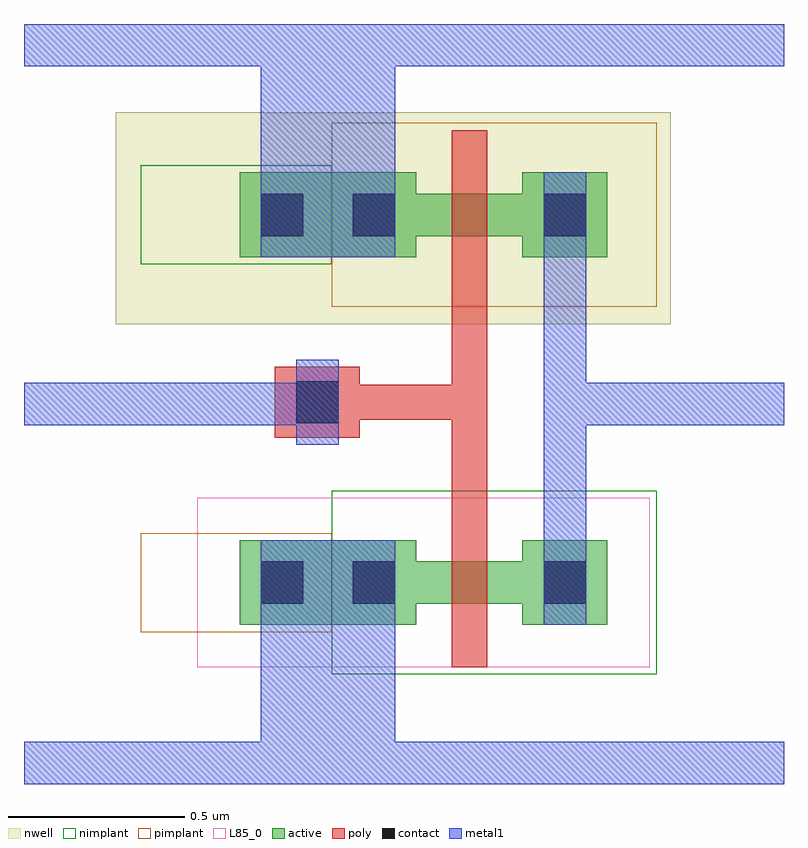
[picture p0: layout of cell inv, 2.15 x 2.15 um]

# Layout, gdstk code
import gdstk
lib = gdstk.Library(unit=1e-6, precision=5e-10)
def R(c, l, rs):  # rectangles x0, y0, x1, y1
    for r in rs: c.add(gdstk.rectangle(r[:2], r[2:], *l))
def A(c, l, x, y, w, h, nx, ny, dx, dy):  # array of equal rectangles
    R(c, l, [(x+i*dx, y+j*dy, x+i*dx+w, y+j*dy+h) for i in range(nx) for j in range(ny)])
active = (1, 0)
nwell = (2, 0)
poly = (3, 0)
nimplant = (4, 0)
pimplant = (5, 0)
contact = (6, 0)
metal1 = (7, 0)
L85_0 = (85, 0)

nmos1v_0 = lib.new_cell('nmos1v_0')
A(nmos1v_0, active, -0.1, 0, 0.1, 0.12, 3, 1, 0.1, 0)
R(nmos1v_0, active, [(-0.6,-0.06,-0.1,0.18), (0.2,-0.06,0.44,0.18)])
R(nmos1v_0, poly, [(0,-0.18,0.1,-0.16), (0,-0.16,0.1,0), (0,0,0.1,0.12), (0,0.12,0.1,0.28), (0,0.28,0.1,0.3)])
R(nmos1v_0, nimplant, [(-0.34,-0.2,0.58,0.32), (-0.18,-0.18,0.28,0.3)])
R(nmos1v_0, pimplant, [(-0.88,-0.08,-0.34,0.2)])
R(nmos1v_0, contact, [(-0.54,0,-0.42,0.12), (-0.28,0,-0.16,0.12), (0.26,0,0.38,0.12)])
R(nmos1v_0, metal1, [(-0.54,-0.06,-0.16,0.18), (-0.54,-0.06,-0.16,0.18), (0.26,-0.06,0.38,0.18)])
R(nmos1v_0, L85_0, [(-0.72,-0.18,0.56,0.3)])

pmos1v_1 = lib.new_cell('pmos1v_1')
A(pmos1v_1, active, -0.1, 0, 0.1, 0.12, 3, 1, 0.1, 0)
R(pmos1v_1, active, [(-0.6,-0.06,-0.1,0.18), (0.2,-0.06,0.44,0.18)])
R(pmos1v_1, nwell, [(-0.72,-0.18,0.56,0.3)])
R(pmos1v_1, poly, [(0,-0.18,0.1,-0.16), (0,-0.16,0.1,0), (0,0,0.1,0.12), (0,0.12,0.1,0.28), (0,0.28,0.1,0.3)])
R(pmos1v_1, nimplant, [(-0.88,-0.08,-0.34,0.2)])
R(pmos1v_1, pimplant, [(-0.34,-0.2,0.58,0.32), (-0.18,-0.18,0.28,0.3)])
R(pmos1v_1, contact, [(-0.54,0,-0.42,0.12), (-0.28,0,-0.16,0.12), (0.26,0,0.38,0.12)])
R(pmos1v_1, metal1, [(-0.54,-0.06,-0.16,0.18), (-0.54,-0.06,-0.16,0.18), (0.26,-0.06,0.38,0.18)])

m1_pov_0 = lib.new_cell('M1_POv_0')
R(m1_pov_0, poly, [(-0.12,-0.1,0.12,0.1)])
R(m1_pov_0, contact, [(-0.06,-0.06,0.06,0.06)])
R(m1_pov_0, metal1, [(-0.06,-0.12,0.06,0.12)])

inv = lib.new_cell('inv')
R(inv, nwell, [(0.26,1.3,1.83,1.9)])
R(inv, metal1, [(0,0,2.15,0.12), (0,1.015,0.12,1.135), (2.03,1.015,2.15,1.135), (0,2.03,2.15,2.15)])
inv.add(gdstk.FlexPath([(0.83,1.08),(1.26,1.08)], 0.1, ends=(0, 0.05), simple_path=True, layer=3, datatype=0))  # poly
inv.add(gdstk.FlexPath([(1.26,1.37),(1.26,1.08)], 0.1, ends=(0, 0.05), simple_path=True, layer=3, datatype=0))  # poly
inv.add(gdstk.FlexPath([(1.26,1.08),(1.26,0.81)], 0.1, ends=(0.05, 0), simple_path=True, layer=3, datatype=0))  # poly
inv.add(gdstk.FlexPath([(0.86,0.45),(0.86,0.12)], 0.38, ends="flush", simple_path=True, layer=7, datatype=0))  # metal1
inv.add(gdstk.FlexPath([(0.86,1.73),(0.86,2.03)], 0.38, ends="flush", simple_path=True, layer=7, datatype=0))  # metal1
inv.add(gdstk.FlexPath([(2.03,1.075),(1.53,1.075)], 0.12, ends="extended", simple_path=True, layer=7, datatype=0))  # metal1
inv.add(gdstk.FlexPath([(1.53,1.49),(1.53,1.075)], 0.12, ends=(0, 0.06), simple_path=True, layer=7, datatype=0))  # metal1
inv.add(gdstk.FlexPath([(1.53,1.075),(1.53,0.69)], 0.12, ends=(0.06, 0), simple_path=True, layer=7, datatype=0))  # metal1
inv.add(gdstk.FlexPath([(0.83,1.075),(0.83,1.08)], 0.12, ends=(0.06, 0), simple_path=True, layer=7, datatype=0))  # metal1
inv.add(gdstk.FlexPath([(0.12,1.075),(0.83,1.075)], 0.12, ends=(0, 0.06), simple_path=True, layer=7, datatype=0))  # metal1
inv.add(gdstk.Reference(nmos1v_0, (1.21,0.51)))
inv.add(gdstk.Reference(pmos1v_1, (1.21,1.55)))
inv.add(gdstk.Reference(m1_pov_0, (0.83,1.08)))

lib.write_gds('inv.gds')
